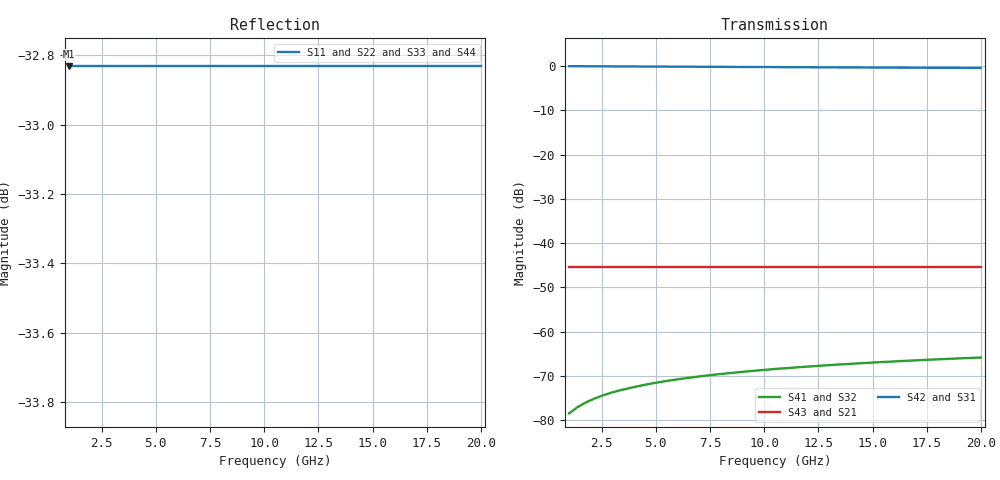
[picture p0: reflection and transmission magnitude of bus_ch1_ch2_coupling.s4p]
! 4-Port S-parameter Matrix generated by Python MTL Solver
! Configuration: W=100um, S=120um, H=100um, T=35um, Len=0.05m
# GHz S RI R 50
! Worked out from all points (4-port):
!   50 points, 1 GHz to 20 GHz, reference 50 ohm
!   strongest paths, dB at 1 GHz, 5.653 GHz, 10.69 GHz, 15.35 GHz, 20 GHz:
!     S42: 0.0, -0.1, -0.2, -0.3, -0.4
!     S31: 0.0, -0.1, -0.2, -0.3, -0.4
!     S43: -45.4, -45.4, -45.4, -45.4, -45.4
!     S21: -45.4, -45.4, -45.4, -45.4, -45.4
!     S41: -78.4, -71.0, -68.3, -66.9, -65.8
!     S32: -78.4, -71.0, -68.3, -66.9, -65.8
!   lowest |S11| = -32.8 dB at 1 GHz (marker M1), VSWR 1.05, Z = 52 + j1.15 ohm
!   |S11| at or under -10 dB: start of sweep to end of sweep
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1  0.02 0.011  0.005 0.002  -0.5639 -0.8213  -6.8e-05 -9.9e-05
   0.005 0.002  0.02 0.011  -6.8e-05 -9.9e-05  -6.8e-05 -9.9e-05
   -0.5639 -0.8213  -6.8e-05 -9.9e-05  0.02 0.011  0.005 0.002
   -6.8e-05 -9.9e-05  -0.5639 -0.8213  0.005 0.002  0.02 0.011
2.1633  0.02 0.011  0.005 0.002  -0.0127 0.9929  -2e-06 0.000176
        0.005 0.002  0.02 0.011  -2e-06 0.000176  -2e-06 0.000176
        -0.0127 0.9929  -2e-06 0.000176  0.02 0.011  0.005 0.002
        -2e-06 0.000176  -0.0127 0.9929  0.005 0.002  0.02 0.011
3.7143  0.02 0.011  0.005 0.002  -0.2111 -0.9661  -4.9e-05 -0.000224
        0.005 0.002  0.02 0.011  -4.9e-05 -0.000224  -4.9e-05 -0.000224
        -0.2111 -0.9661  -4.9e-05 -0.000224  0.02 0.011  0.005 0.002
        -4.9e-05 -0.000224  -0.2111 -0.9661  0.005 0.002  0.02 0.011
4.8776  0.02 0.011  0.005 0.002  -0.3834 0.9084  -0.000102 0.000242
        0.005 0.002  0.02 0.011  -0.000102 0.000242  -0.000102 0.000242
        -0.3834 0.9084  -0.000102 0.000242  0.02 0.011  0.005 0.002
        -0.000102 0.000242  -0.3834 0.9084  0.005 0.002  0.02 0.011
6.4286  0.02 0.011  0.005 0.002  0.1676 -0.9677  5.1e-05 -0.000296
        0.005 0.002  0.02 0.011  5.1e-05 -0.000296  5.1e-05 -0.000296
        0.1676 -0.9677  5.1e-05 -0.000296  0.02 0.011  0.005 0.002
        5.1e-05 -0.000296  0.1676 -0.9677  0.005 0.002  0.02 0.011
7.9796  0.02 0.011  0.005 0.002  0.0552 0.9768  1.9e-05 0.000333
        0.005 0.002  0.02 0.011  1.9e-05 0.000333  1.9e-05 0.000333
        0.0552 0.9768  1.9e-05 0.000333  0.02 0.011  0.005 0.002
        1.9e-05 0.000333  0.0552 0.9768  0.005 0.002  0.02 0.011
20  0.02 0.011  0.005 0.002  0.8186 0.4833  0.000441 0.00026
    0.005 0.002  0.02 0.011  0.000441 0.00026  0.000441 0.00026
    0.8186 0.4833  0.000441 0.00026  0.02 0.011  0.005 0.002
    0.000441 0.00026  0.8186 0.4833  0.005 0.002  0.02 0.011
